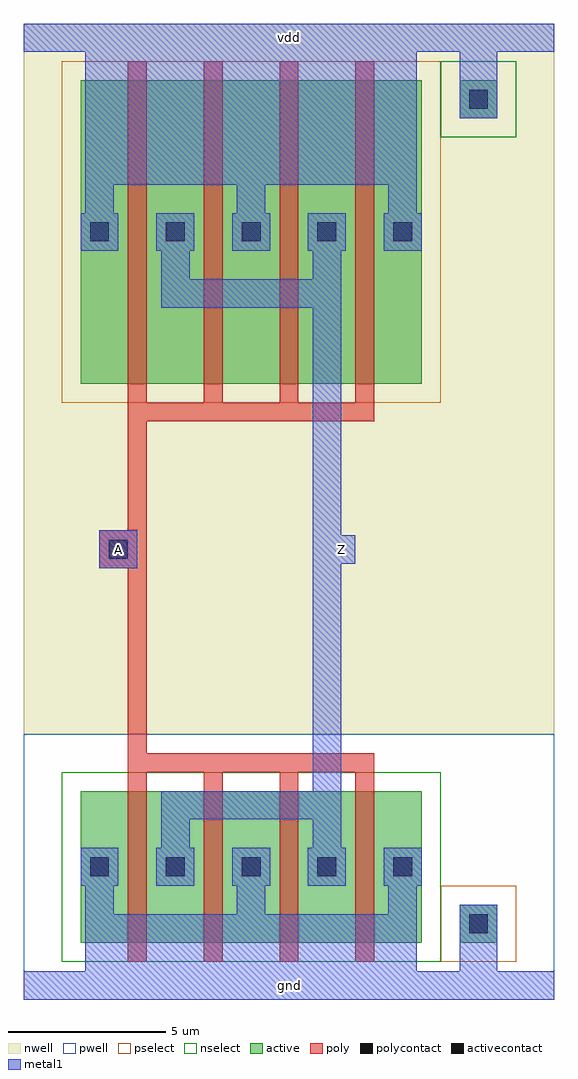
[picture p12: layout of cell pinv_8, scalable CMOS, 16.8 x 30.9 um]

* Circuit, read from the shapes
.subckt pinv_8 A Z gnd vdd
M1 Z A gnd gnd nfet w=4.8u l=0.6u m=4
M2 Z A vdd vdd pfet w=9.6u l=0.6u m=4
.ends

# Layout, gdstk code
import gdstk
lib = gdstk.Library(unit=1e-6, precision=1e-09)
def R(c, l, rs):  # rectangles x0, y0, x1, y1
    for r in rs: c.add(gdstk.rectangle(r[:2], r[2:], *l))
def A(c, l, x, y, w, h, nx, ny, dx, dy):  # array of equal rectangles
    R(c, l, [(x+i*dx, y+j*dy, x+i*dx+w, y+j*dy+h) for i in range(nx) for j in range(ny)])
pwell = (41, 0)
nwell = (42, 0)
active = (43, 0)
pselect = (44, 0)
nselect = (45, 0)
poly = (46, 0)
polycontact = (47, 0)
activecontact = (48, 0)
metal1 = (49, 0)

active_contact_metal1_1x = lib.new_cell('active_contact_metal1_1x1_pn')
R(active_contact_metal1_1x, nwell, [(-1.8,-1.8,3,3)])
R(active_contact_metal1_1x, active, [(0,0,1.2,1.2)])
R(active_contact_metal1_1x, pselect, [(-0.6,-0.6,1.8,1.8)])
R(active_contact_metal1_1x, activecontact, [(0.3,0.3,0.9,0.9)])
R(active_contact_metal1_1x, metal1, [(0,0,1.2,1.2)])

pmos_m4_w9_6_a_p = lib.new_cell('pmos_m4_w9_6_a_p')
R(pmos_m4_w9_6_a_p, nwell, [(-1.8,-1.8,12.6,11.4)])
R(pmos_m4_w9_6_a_p, active, [(0,0,10.8,9.6)])
R(pmos_m4_w9_6_a_p, pselect, [(-0.6,-0.6,11.4,10.2)])
A(pmos_m4_w9_6_a_p, poly, 1.5, -0.6, 0.6, 10.8, 4, 1, 2.4, 0)
R(pmos_m4_w9_6_a_p, poly, [(1.5,-1.2,9.3,-0.6)])
A(pmos_m4_w9_6_a_p, metal1, 0.15, 4.8, 0.9, 1.95, 3, 1, 4.8, 0)
R(pmos_m4_w9_6_a_p, metal1, [(2.55,2.4,8.25,3.3), (2.55,2.85,3.45,4.8), (7.35,2.85,8.25,4.8), (0.15,6.3,10.65,7.2)])
pmos_m4_w9_6_a_p.add(gdstk.Reference(active_contact_metal1_1x, (0,4.2)))
pmos_m4_w9_6_a_p.add(gdstk.Reference(active_contact_metal1_1x, (4.8,4.2)))
pmos_m4_w9_6_a_p.add(gdstk.Reference(active_contact_metal1_1x, (9.6,4.2)))
pmos_m4_w9_6_a_p.add(gdstk.Reference(active_contact_metal1_1x, (2.4,4.2)))
pmos_m4_w9_6_a_p.add(gdstk.Reference(active_contact_metal1_1x, (7.2,4.2)))
pmos_m4_w9_6_a_p.add(gdstk.Label('G', (5.4,-0.9), layer=46, texttype=0))
pmos_m4_w9_6_a_p.add(gdstk.Label('S', (5.4,6.75), layer=49, texttype=0))
pmos_m4_w9_6_a_p.add(gdstk.Label('D', (5.4,2.85), layer=49, texttype=0))

c_active_contact_metal1_1x = lib.new_cell('active_contact_metal1_1x1_np')
R(c_active_contact_metal1_1x, pwell, [(-1.8,-1.8,3,3)])
R(c_active_contact_metal1_1x, active, [(0,0,1.2,1.2)])
R(c_active_contact_metal1_1x, nselect, [(-0.6,-0.6,1.8,1.8)])
R(c_active_contact_metal1_1x, activecontact, [(0.3,0.3,0.9,0.9)])
R(c_active_contact_metal1_1x, metal1, [(0,0,1.2,1.2)])

nmos_m4_w4_8_a_p = lib.new_cell('nmos_m4_w4_8_a_p')
R(nmos_m4_w4_8_a_p, pwell, [(-1.8,-1.8,12.6,6.6)])
R(nmos_m4_w4_8_a_p, active, [(0,0,10.8,4.8)])
R(nmos_m4_w4_8_a_p, nselect, [(-0.6,-0.6,11.4,5.4)])
A(nmos_m4_w4_8_a_p, poly, 1.5, -0.6, 0.6, 6, 4, 1, 2.4, 0)
R(nmos_m4_w4_8_a_p, poly, [(1.5,5.4,9.3,6)])
A(nmos_m4_w4_8_a_p, metal1, 0.15, 0.45, 0.9, 1.95, 3, 1, 4.8, 0)
R(nmos_m4_w4_8_a_p, metal1, [(0.15,0,10.65,0.9), (2.55,2.4,3.45,4.35), (7.35,2.4,8.25,4.35), (2.55,3.9,8.25,4.8)])
nmos_m4_w4_8_a_p.add(gdstk.Reference(c_active_contact_metal1_1x, (0,1.8)))
nmos_m4_w4_8_a_p.add(gdstk.Reference(c_active_contact_metal1_1x, (4.8,1.8)))
nmos_m4_w4_8_a_p.add(gdstk.Reference(c_active_contact_metal1_1x, (9.6,1.8)))
nmos_m4_w4_8_a_p.add(gdstk.Reference(c_active_contact_metal1_1x, (2.4,1.8)))
nmos_m4_w4_8_a_p.add(gdstk.Reference(c_active_contact_metal1_1x, (7.2,1.8)))
nmos_m4_w4_8_a_p.add(gdstk.Label('G', (5.4,5.7), layer=46, texttype=0))
nmos_m4_w4_8_a_p.add(gdstk.Label('S', (5.4,0.45), layer=49, texttype=0))
nmos_m4_w4_8_a_p.add(gdstk.Label('D', (5.4,4.35), layer=49, texttype=0))

c_active_contact_metal1_1x_ = lib.new_cell('active_contact_metal1_1x1_nn')
R(c_active_contact_metal1_1x_, nwell, [(-1.8,-1.8,3,3)])
R(c_active_contact_metal1_1x_, active, [(0,0,1.2,1.2)])
R(c_active_contact_metal1_1x_, nselect, [(-0.6,-0.6,1.8,1.8)])
R(c_active_contact_metal1_1x_, activecontact, [(0.3,0.3,0.9,0.9)])
R(c_active_contact_metal1_1x_, metal1, [(0,0,1.2,1.2)])

c_active_contact_metal1_1x__ = lib.new_cell('active_contact_metal1_1x1_pp')
R(c_active_contact_metal1_1x__, pwell, [(-1.8,-1.8,3,3)])
R(c_active_contact_metal1_1x__, active, [(0,0,1.2,1.2)])
R(c_active_contact_metal1_1x__, pselect, [(-0.6,-0.6,1.8,1.8)])
R(c_active_contact_metal1_1x__, activecontact, [(0.3,0.3,0.9,0.9)])
R(c_active_contact_metal1_1x__, metal1, [(0,0,1.2,1.2)])

poly_contact_metal1_1x1 = lib.new_cell('poly_contact_metal1_1x1')
R(poly_contact_metal1_1x1, poly, [(0,0,1.2,1.2)])
R(poly_contact_metal1_1x1, polycontact, [(0.3,0.3,0.9,0.9)])
R(poly_contact_metal1_1x1, metal1, [(0,0,1.2,1.2)])

pinv_8 = lib.new_cell('pinv_8')
R(pinv_8, pwell, [(0,-0.45,16.8,7.95)])
R(pinv_8, nwell, [(0,7.95,16.8,30.45)])
R(pinv_8, poly, [(3.3,6.75,3.9,17.85), (3,13.2,3.3,14.4)])
R(pinv_8, metal1, [(0,-0.45,16.8,0.45), (1.95,-0.45,12.45,1.35), (13.8,0,15,1.95), (9.15,5.25,10.05,21.45), (2.4,13.2,3.6,14.4), (9.6,13.35,10.5,14.25), (1.95,25.35,12.45,30.45), (13.8,28.05,15,30), (0,29.55,16.8,30.45)])
pinv_8.add(gdstk.Reference(pmos_m4_w9_6_a_p, (1.8,19.05)))
pinv_8.add(gdstk.Reference(nmos_m4_w4_8_a_p, (1.8,1.35)))
pinv_8.add(gdstk.Reference(c_active_contact_metal1_1x_, (13.8,27.45)))
pinv_8.add(gdstk.Reference(c_active_contact_metal1_1x__, (13.8,1.35)))
pinv_8.add(gdstk.Reference(poly_contact_metal1_1x1, (2.4,13.2)))
pinv_8.add(gdstk.Label('gnd', (8.4,0), layer=49, texttype=0))
pinv_8.add(gdstk.Label('vdd', (8.4,30), layer=49, texttype=0))
pinv_8.add(gdstk.Label('A', (3,13.8), layer=49, texttype=0))
pinv_8.add(gdstk.Label('Z', (10.05,13.8), layer=49, texttype=0))

lib.write_gds('pinv_8.gds')
